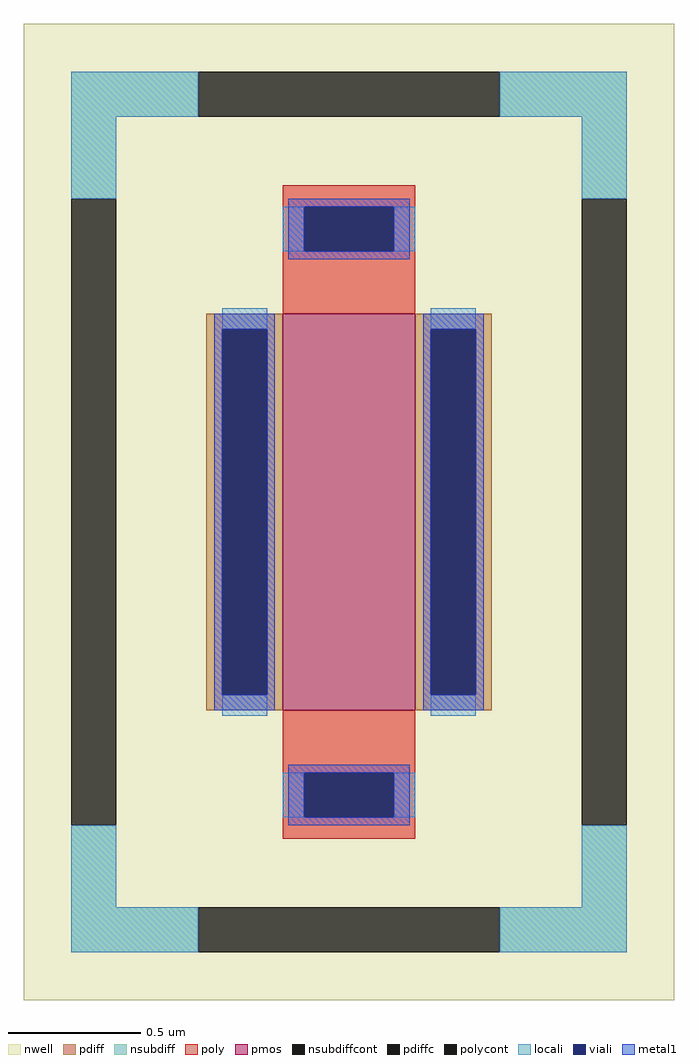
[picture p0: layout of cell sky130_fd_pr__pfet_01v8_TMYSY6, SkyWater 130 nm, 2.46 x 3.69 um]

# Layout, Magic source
magic
tech sky130A
magscale 1 2
<< nwell >>
rect -246 -369 246 369
<< pmos >>
rect -50 -150 50 150
<< pdiff >>
rect -108 138 -50 150
rect -108 -138 -96 138
rect -62 -138 -50 138
rect -108 -150 -50 -138
rect 50 138 108 150
rect 50 -138 62 138
rect 96 -138 108 138
rect 50 -150 108 -138
<< pdiffc >>
rect -96 -138 -62 138
rect 62 -138 96 138
<< nsubdiff >>
rect -210 299 -114 333
rect 114 299 210 333
rect -210 237 -176 299
rect 176 237 210 299
rect -210 -299 -176 -237
rect 176 -299 210 -237
rect -210 -333 -114 -299
rect 114 -333 210 -299
<< nsubdiffcont >>
rect -114 299 114 333
rect -210 -237 -176 237
rect 176 -237 210 237
rect -114 -333 114 -299
<< poly >>
rect -50 231 50 247
rect -50 197 -34 231
rect 34 197 50 231
rect -50 150 50 197
rect -50 -197 50 -150
rect -50 -231 -34 -197
rect 34 -231 50 -197
rect -50 -247 50 -231
<< polycont >>
rect -34 197 34 231
rect -34 -231 34 -197
<< locali >>
rect -210 299 -114 333
rect 114 299 210 333
rect -210 237 -176 299
rect 176 237 210 299
rect -50 197 -34 231
rect 34 197 50 231
rect -96 138 -62 154
rect -96 -154 -62 -138
rect 62 138 96 154
rect 62 -154 96 -138
rect -50 -231 -34 -197
rect 34 -231 50 -197
rect -210 -299 -176 -237
rect 176 -299 210 -237
rect -210 -333 -114 -299
rect 114 -333 210 -299
<< viali >>
rect -34 197 34 231
rect -96 -138 -62 138
rect 62 -138 96 138
rect -34 -231 34 -197
<< metal1 >>
rect -46 231 46 237
rect -46 197 -34 231
rect 34 197 46 231
rect -46 191 46 197
rect -102 138 -56 150
rect -102 -138 -96 138
rect -62 -138 -56 138
rect -102 -150 -56 -138
rect 56 138 102 150
rect 56 -138 62 138
rect 96 -138 102 138
rect 56 -150 102 -138
rect -46 -197 46 -191
rect -46 -231 -34 -197
rect 34 -231 46 -197
rect -46 -237 46 -231
<< properties >>
string FIXED_BBOX -193 -316 193 316
string gencell sky130_fd_pr__pfet_01v8
string library sky130
string parameters w 1.5 l 0.5 m 1 nf 1 diffcov 100 polycov 100 guard 1 glc 1 grc 1 gtc 1 gbc 1 tbcov 100 rlcov 100 topc 1 botc 1 poverlap 0 doverlap 1 lmin 0.15 wmin 0.42 compatible {sky130_fd_pr__pfet_01v8  sky130_fd_pr__pfet_01v8_lvt sky130_fd_pr__pfet_01v8_hvt  sky130_fd_pr__pfet_g5v0d10v5} full_metal 1 viasrc 100 viadrn 100 viagate 100 viagb 0 viagr 0 viagl 0 viagt 0
<< end >>
